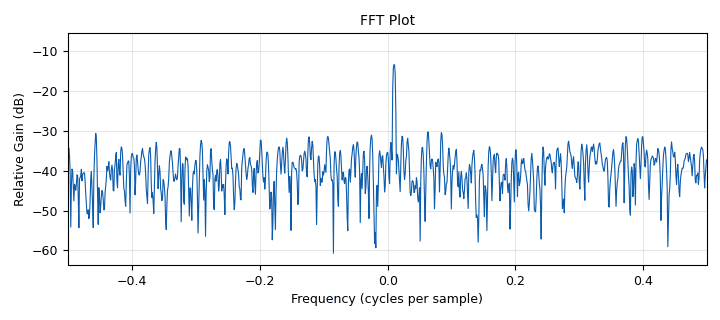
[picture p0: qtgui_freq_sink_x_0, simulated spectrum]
options:
  parameters:
    author: mettus
    category: Custom
    description: Adapted from GNU Radio's own example (gr-channels/examples/demo_spec_an.grc).
    generate_options: qt_gui
    id: demo_spec_an
    output_language: python
    title: Spectrum Analyzer Demo
  states: {}

blocks:
- name: fft_size
  id: variable
  parameters:
    value: '1000'
  states: {}
- name: freq_offset
  id: variable_qtgui_range
  parameters:
    label: Tone Frequency
    start: '2100'
    step: '10'
    stop: '3100'
    value: '2600'
  states: {}
- name: samp_rate
  id: variable
  parameters:
    value: '100000'
  states: {}
- name: snr
  id: variable_qtgui_range
  parameters:
    label: Noise Amplitude
    start: '0'
    step: '0.01'
    stop: '1'
    value: '0.1'
  states: {}
- name: analog_noise_source_x_0
  id: analog_noise_source_x
  parameters:
    noise_type: analog.GR_GAUSSIAN
    seed: '42'
    type: complex
    amplitude: snr
  states: {}
- name: analog_sig_source_x_0
  id: analog_sig_source_x
  parameters:
    offset: '0'
    phase: '0'
    samp_rate: samp_rate
    type: complex
    waveform: analog.GR_COS_WAVE
    frequency: freq_offset
    amplitude: '1.0'
  states: {}
- name: blocks_add_xx_0
  id: blocks_add_xx
  parameters:
    type: complex
  states: {}
- name: blocks_divide_xx_0
  id: blocks_divide_xx
  parameters:
    type: float
  states: {}
- name: blocks_nlog10_ff_0
  id: blocks_nlog10_ff
  parameters:
    k: '0'
    n: '20'
  states: {}
- name: blocks_rms_xx_0
  id: blocks_rms_xx
  parameters:
    alpha: '.0001'
    type: complex
  states: {}
- name: blocks_rms_xx_0_0
  id: blocks_rms_xx
  parameters:
    alpha: '.0001'
    type: complex
  states: {}
- name: blocks_throttle2_0
  id: blocks_throttle2
  parameters:
    samples_per_second: samp_rate
    type: complex
  states: {}
- name: qtgui_freq_sink_x_0
  id: qtgui_freq_sink_x
  parameters:
    autoscale: 'True'
    fc: '0'
    fftsize: '1024'
    name: FFT Plot
    showports: 'True'
    type: complex
    wintype: window.WIN_FLATTOP
    samp_rate: '1.0'
  states: {}
- name: qtgui_number_sink_0
  id: qtgui_number_sink
  parameters:
    graph_type: qtgui.NUM_GRAPH_HORIZ
    label1: Noise Amplitude
    max: '100'
    min: '0'
    type: float
  states: {}
- name: qtgui_number_sink_signal_amplitude
  id: qtgui_number_sink
  parameters:
    graph_type: qtgui.NUM_GRAPH_HORIZ
    label1: Signal Amplitude
    max: '2'
    min: '0'
    type: float
  states: {}
- name: qtgui_number_sink_snr
  id: qtgui_number_sink
  parameters:
    autoscale: 'True'
    graph_type: qtgui.NUM_GRAPH_HORIZ
    label1: SNR
    type: float
  states: {}
- name: qtgui_time_sink_x_0
  id: qtgui_time_sink_x
  parameters:
    label1: ''
    label2: ''
    name: Scope Plot
    size: '1024'
    type: complex
    samp_rate: samp_rate
  states: {state: disabled}

connections:
- [analog_noise_source_x_0, '0', blocks_add_xx_0, '1']
- [analog_noise_source_x_0, '0', blocks_rms_xx_0, '0']
- [analog_sig_source_x_0, '0', blocks_add_xx_0, '0']
- [analog_sig_source_x_0, '0', blocks_rms_xx_0_0, '0']
- [blocks_add_xx_0, '0', blocks_throttle2_0, '0']
- [blocks_divide_xx_0, '0', blocks_nlog10_ff_0, '0']
- [blocks_nlog10_ff_0, '0', qtgui_number_sink_snr, '0']
- [blocks_rms_xx_0, '0', blocks_divide_xx_0, '1']
- [blocks_rms_xx_0, '0', qtgui_number_sink_0, '0']
- [blocks_rms_xx_0_0, '0', blocks_divide_xx_0, '0']
- [blocks_rms_xx_0_0, '0', qtgui_number_sink_signal_amplitude, '0']
- [blocks_throttle2_0, '0', qtgui_freq_sink_x_0, '0']

metadata:
  file_format: 1
  grc_version: 3.10.10.0
